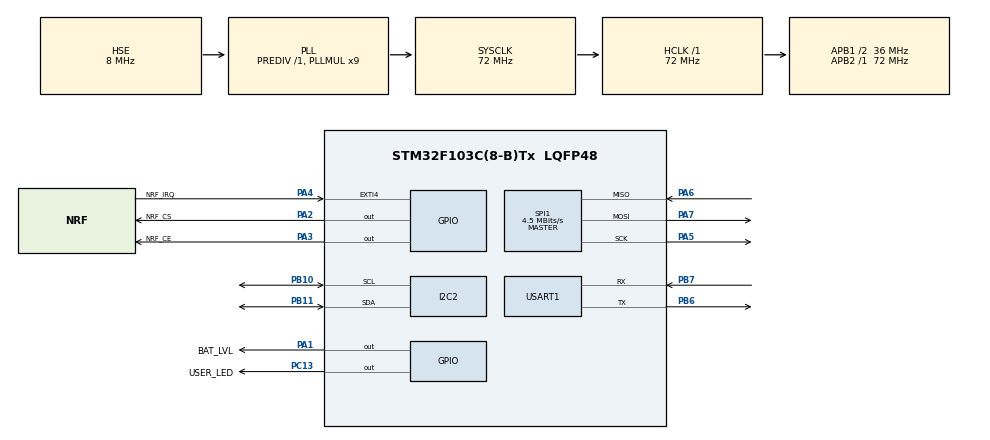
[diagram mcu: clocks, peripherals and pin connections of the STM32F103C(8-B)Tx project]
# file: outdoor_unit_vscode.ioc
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Dma.I2C2_RX.0.Direction=DMA_PERIPH_TO_MEMORY
Dma.I2C2_RX.0.Instance=DMA1_Channel5
Dma.I2C2_RX.0.MemDataAlignment=DMA_MDATAALIGN_BYTE
Dma.I2C2_RX.0.MemInc=DMA_MINC_ENABLE
Dma.I2C2_RX.0.Mode=DMA_NORMAL
Dma.I2C2_RX.0.PeriphDataAlignment=DMA_PDATAALIGN_BYTE
Dma.I2C2_RX.0.PeriphInc=DMA_PINC_DISABLE
Dma.I2C2_RX.0.Priority=DMA_PRIORITY_LOW
Dma.I2C2_TX.1.Direction=DMA_MEMORY_TO_PERIPH
Dma.I2C2_TX.1.Instance=DMA1_Channel4
Dma.I2C2_TX.1.MemDataAlignment=DMA_MDATAALIGN_BYTE
Dma.I2C2_TX.1.MemInc=DMA_MINC_ENABLE
Dma.I2C2_TX.1.Mode=DMA_NORMAL
Dma.I2C2_TX.1.PeriphDataAlignment=DMA_PDATAALIGN_BYTE
Dma.I2C2_TX.1.PeriphInc=DMA_PINC_DISABLE
Dma.I2C2_TX.1.Priority=DMA_PRIORITY_LOW
Dma.Request0=I2C2_RX
Dma.Request1=I2C2_TX
I2C2.I2C_Mode=I2C_Fast
Mcu.Family=STM32F1
Mcu.Name=STM32F103C(8-B)Tx
Mcu.Package=LQFP48
NVIC.DMA1_Channel4_IRQn=true\:0\:0\:false\:false\:true\:false\:true\:true
NVIC.DMA1_Channel5_IRQn=true\:0\:0\:false\:false\:true\:false\:true\:true
NVIC.EXTI4_IRQn=true\:0\:0\:false\:false\:true\:true\:true\:true
NVIC.I2C2_ER_IRQn=true\:0\:0\:false\:false\:true\:true\:true\:true
NVIC.I2C2_EV_IRQn=true\:0\:0\:false\:false\:true\:true\:true\:true
NVIC.PriorityGroup=NVIC_PRIORITYGROUP_4
NVIC.USART1_IRQn=true\:0\:0\:false\:false\:true\:true\:true\:true
PA1.GPIO_Label=BAT_LVL
PA1.Signal=GPIO_Output
PA13.Mode=Serial_Wire
PA13.Signal=SYS_JTMS-SWDIO
PA14.Mode=Serial_Wire
PA14.Signal=SYS_JTCK-SWCLK
PA2.GPIO_Label=NRF_CS
PA2.Signal=GPIO_Output
PA3.GPIO_Label=NRF_CE
PA3.Signal=GPIO_Output
PA4.GPIO_Label=NRF_IRQ
PA4.GPIO_ModeDefaultEXTI=GPIO_MODE_IT_FALLING
PA4.Signal=GPXTI4
PA5.Mode=Full_Duplex_Master
PA5.Signal=SPI1_SCK
PA6.Mode=Full_Duplex_Master
PA6.Signal=SPI1_MISO
PA7.Mode=Full_Duplex_Master
PA7.Signal=SPI1_MOSI
PB10.Mode=I2C
PB10.Signal=I2C2_SCL
PB11.Mode=I2C
PB11.Signal=I2C2_SDA
PB6.Mode=Asynchronous
PB6.Signal=USART1_TX
PB7.Mode=Asynchronous
PB7.Signal=USART1_RX
PC13-TAMPER-RTC.GPIO_Label=USER_LED
PC13-TAMPER-RTC.Signal=GPIO_Output
PD0-OSC_IN.Mode=HSE-External-Oscillator
PD0-OSC_IN.Signal=RCC_OSC_IN
PD1-OSC_OUT.Mode=HSE-External-Oscillator
PD1-OSC_OUT.Signal=RCC_OSC_OUT
ProjectManager.HeapSize=0x200
ProjectManager.StackSize=0x400
ProjectManager.TargetToolchain=CMake
RCC.AHBFreq_Value=72000000
RCC.APB1CLKDivider=RCC_HCLK_DIV2
RCC.APB1Freq_Value=36000000
RCC.APB1TimFreq_Value=72000000
RCC.APB2Freq_Value=72000000
RCC.APB2TimFreq_Value=72000000
RCC.HCLKFreq_Value=72000000
RCC.PLLMUL=RCC_PLL_MUL9
RCC.PLLSourceVirtual=RCC_PLLSOURCE_HSE
RCC.SYSCLKFreq_VALUE=72000000
RCC.SYSCLKSource=RCC_SYSCLKSOURCE_PLLCLK
RCC.USBFreq_Value=72000000
SPI1.BaudRatePrescaler=SPI_BAUDRATEPRESCALER_16
SPI1.CalculateBaudRate=4.5 MBits/s
SPI1.Direction=SPI_DIRECTION_2LINES
SPI1.Mode=SPI_MODE_MASTER
SPI1.VirtualType=VM_MASTER
USART1.VirtualMode=VM_ASYNC
VP_WWDG_VS_WWDG.Mode=WWDG_Activate
WWDG.Counter=127
WWDG.Prescaler=WWDG_PRESCALER_8
WWDG.Window=127
board=custom

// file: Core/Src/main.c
/* USER CODE BEGIN Header */
/**
  ******************************************************************************
  * @file           : main.c
  * @brief          : Main program body
  ******************************************************************************
  * @attention
  *
  * Copyright (c) 2025 STMicroelectronics.
  * All rights reserved.
  *
  * This software is licensed under terms that can be found in the LICENSE file
  * in the root directory of this software component.
  * If no LICENSE file comes with this software, it is provided AS-IS.
  *
  ******************************************************************************
  */
/* USER CODE END Header */
#include "main.h"
#include "dma.h"
#include "i2c.h"
#include "spi.h"
#include "usart.h"
#include "wwdg.h"
#include "gpio.h"

/* USER CODE BEGIN Includes */
#include "outdoor_station.h"
#include "power_mgr.h"
#include "debug_log.h"
#include "measurement.h"
#include "measurement_unit_config.h"

#include <stdio.h>
#include <string.h>

/* USER CODE END Includes */

/* USER CODE BEGIN PD */

/* NRF24L01 configuration */
/* USER CODE END PD */

void SystemClock_Config(void);

int main(void)
{

  /* MCU Configuration--------------------------------------------------------*/

  /* Reset of all peripherals, Initializes the Flash interface and the Systick. */
  HAL_Init();

  /* USER CODE BEGIN Init */

#if defined(DEBUG)
  __HAL_DBGMCU_FREEZE_WWDG();
#endif

  /* USER CODE END Init */

  /* Configure the system clock */
  SystemClock_Config();

  /* Initialize all configured peripherals */
  MX_GPIO_Init();
  MX_DMA_Init();
  MX_I2C2_Init();
  MX_USART1_UART_Init();
  MX_SPI1_Init();
  MX_WWDG_Init();
  /* USER CODE BEGIN 2 */

  Debug_Init();

  if (OutdoorStation_Init() != HAL_OK)
  {
    Error_Handler_WithName("OutdoorStation_Init");
  }
  /* USER CODE END 2 */

  /* Infinite loop */
  while (1)
  {

    /* USER CODE BEGIN 3 */

    OutdoorStation_Process();
    WWDG_Refresh();

    if (OutdoorStation_CanSleep() != 0U)
    {
      PowerMgr_EnterIdleStop();
    }

#ifdef DEBUG_LOG_HEARTBEAT
    Debug_Heartbeat();
#endif

  }
  /* USER CODE END 3 */
}

void SystemClock_Config(void)
{
  RCC_OscInitTypeDef RCC_OscInitStruct = {0};
  RCC_ClkInitTypeDef RCC_ClkInitStruct = {0};

  /** Initializes the RCC Oscillators according to the specified parameters
  * in the RCC_OscInitTypeDef structure.
  */
  RCC_OscInitStruct.OscillatorType = RCC_OSCILLATORTYPE_HSE;
  RCC_OscInitStruct.HSEState = RCC_HSE_ON;
  RCC_OscInitStruct.HSEPredivValue = RCC_HSE_PREDIV_DIV1;
  RCC_OscInitStruct.HSIState = RCC_HSI_ON;
  RCC_OscInitStruct.PLL.PLLState = RCC_PLL_ON;
  RCC_OscInitStruct.PLL.PLLSource = RCC_PLLSOURCE_HSE;
  RCC_OscInitStruct.PLL.PLLMUL = RCC_PLL_MUL9;
  if (HAL_RCC_OscConfig(&RCC_OscInitStruct) != HAL_OK)
  {
    Error_Handler();
  }

  /** Initializes the CPU, AHB and APB buses clocks
  */
  RCC_ClkInitStruct.ClockType = RCC_CLOCKTYPE_HCLK|RCC_CLOCKTYPE_SYSCLK
                              |RCC_CLOCKTYPE_PCLK1|RCC_CLOCKTYPE_PCLK2;
  RCC_ClkInitStruct.SYSCLKSource = RCC_SYSCLKSOURCE_PLLCLK;
  RCC_ClkInitStruct.AHBCLKDivider = RCC_SYSCLK_DIV1;
  RCC_ClkInitStruct.APB1CLKDivider = RCC_HCLK_DIV2;
  RCC_ClkInitStruct.APB2CLKDivider = RCC_HCLK_DIV1;

  if (HAL_RCC_ClockConfig(&RCC_ClkInitStruct, FLASH_LATENCY_2) != HAL_OK)
  {
    Error_Handler();
  }
}

/* USER CODE BEGIN 4 */

void Error_Handler_WithName(const char *function_name)
{
#if USE_UART_LOGGING
  char error_msg[80];
  snprintf(error_msg, sizeof(error_msg), "ERROR: Failure in function '%s'\r\n", function_name);
  HAL_UART_Transmit(&huart1, (uint8_t *)error_msg, strlen(error_msg), HAL_MAX_DELAY);
#else
  (void)function_name; /* Suppress unused parameter warning */
#endif
  __disable_irq();
  while (1) {
    /* Stay halted - watchdog or external reset required */
  }
}

/* USER CODE END 4 */

void Error_Handler(void)
{
  /* USER CODE BEGIN Error_Handler_Debug */
  Error_Handler_WithName("Unknown");
  /* USER CODE END Error_Handler_Debug */
}
